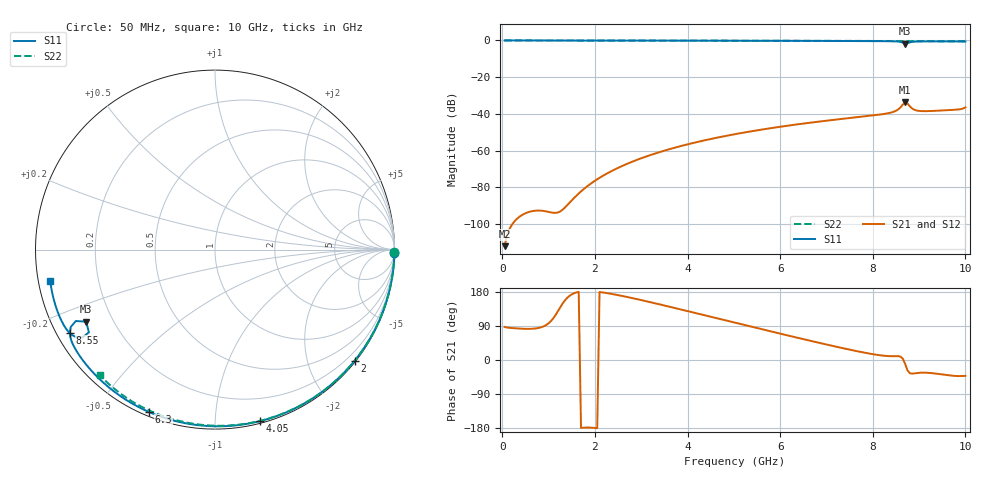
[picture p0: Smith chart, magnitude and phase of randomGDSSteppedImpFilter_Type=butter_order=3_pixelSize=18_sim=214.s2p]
! freq	dB(S11)	phase(S11)	dB(S12)	phase(S12)
!  dB(S21)	phase(S21)	dB(S22)	phase(S22)
!S-par simulation data
#  GHz  S  DB  R 50
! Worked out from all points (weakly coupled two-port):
!   200 points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, 50 MHz to 10 GHz, reference 50 ohm
!   highest |S21| = -33.69 dB at 8.7 GHz (marker M1); lowest = -112.1 dB at 50 MHz (marker M2)
!   lowest |S11| = -1.7 dB at 8.7 GHz (marker M3), VSWR 10.23, Z = 5.21 - j12.9 ohm
!   |S11| at or under -10 dB: nowhere
!   |S22| runs from -0.5 to 0.0 dB; largest |S21 - S12| = 0
!   S11 on the Smith chart (normalised r, x): 50 MHz: open; 2 GHz: 0.03, -2.86; 4.05 GHz: 0.02, -1.30; 6.3 GHz: 0.02, -0.67; 8.55 GHz: 0.04, -0.27; 10 GHz: 0.03, -0.09
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0.05  -0.00 -1.0  -112.07 87.4  -112.07 87.4  -0.00 -0.8
0.85  -0.02 -16.6  -92.74 86.8  -92.74 86.8  -0.02 -13.0
1.75  -0.04 -33.8  -81.14 -178.6  -81.14 -178.6  -0.03 -26.4
1.8  -0.04 -34.7  -80.11 -178.3  -80.11 -178.3  -0.03 -27.2
2  -0.05 -38.5  -76.44 -179.3  -76.44 -179.3  -0.04 -30.1
2.6  -0.06 -49.6  -68.25 168.8  -68.25 168.8  -0.05 -38.9
3.4  -0.08 -64.0  -60.79 146.7  -60.79 146.7  -0.07 -50.3
4.05  -0.10 -75.3  -56.28 127.6  -56.28 127.6  -0.08 -59.3
5.05  -0.14 -92.1  -50.93 97.7  -50.93 97.7  -0.11 -72.8
6.3  -0.21 -112.2  -45.95 60.8  -45.95 60.8  -0.16 -88.8
6.7  -0.23 -118.5  -44.63 49.3  -44.63 49.3  -0.18 -93.8
7.6  -0.30 -132.7  -42.00 24.8  -42.00 24.8  -0.23 -104.7
8.35  -0.41 -145.4  -39.55 10.2  -39.55 10.2  -0.29 -113.5
8.55  -0.61 -150.3  -37.54 10.1  -37.54 10.1  -0.31 -115.9
8.65  -1.19 -152.8  -34.88 3.4  -34.88 3.4  -0.31 -117.0
8.7  -1.70 -150.8  -33.69 -10.7  -33.69 -10.7  -0.31 -117.6
8.75  -1.51 -146.7  -34.32 -27.3  -34.32 -27.3  -0.32 -118.2
8.8  -1.04 -146.5  -35.88 -34.8  -35.88 -34.8  -0.32 -118.8
8.9  -0.65 -149.1  -37.77 -35.2  -37.77 -35.2  -0.33 -119.9
9  -0.55 -151.5  -38.37 -33.7  -38.37 -33.7  -0.34 -121.1
9.8  -0.56 -165.9  -37.70 -42.3  -37.70 -42.3  -0.43 -130.4
10  -0.58 -169.2  -36.45 -42.0  -36.45 -42.0  -0.48 -132.7
